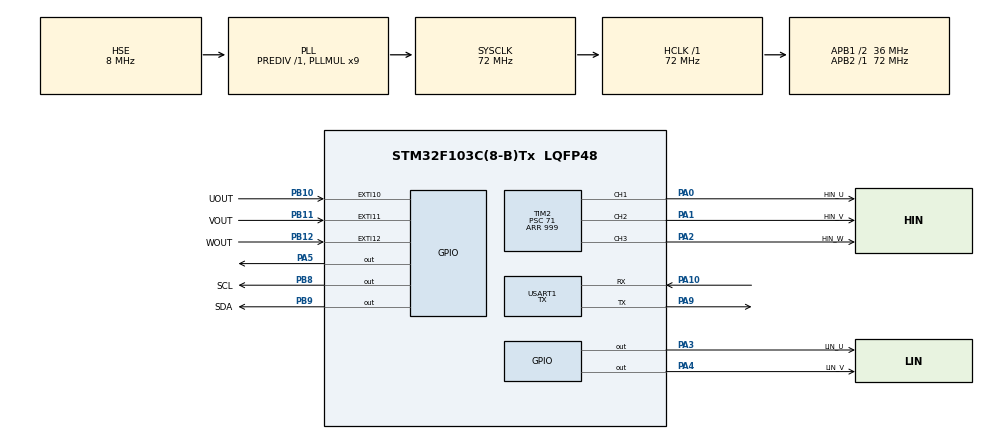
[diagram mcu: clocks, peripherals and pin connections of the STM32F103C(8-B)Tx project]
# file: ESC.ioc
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Mcu.Family=STM32F1
Mcu.Name=STM32F103C(8-B)Tx
Mcu.Package=LQFP48
NVIC.EXTI15_10_IRQn=true\:1\:0\:true\:false\:true\:true\:true\:true
NVIC.PriorityGroup=NVIC_PRIORITYGROUP_4
PA0-WKUP.GPIO_Label=HIN_U
PA0-WKUP.GPIO_Speed=GPIO_SPEED_FREQ_HIGH
PA0-WKUP.Signal=S_TIM2_CH1_ETR
PA1.GPIO_Label=HIN_V
PA1.GPIO_Speed=GPIO_SPEED_FREQ_HIGH
PA1.Signal=S_TIM2_CH2
PA10.Mode=Asynchronous
PA10.Signal=USART1_RX
PA13.Mode=Serial_Wire
PA13.Signal=SYS_JTMS-SWDIO
PA14.Mode=Serial_Wire
PA14.Signal=SYS_JTCK-SWCLK
PA2.GPIO_Label=HIN_W
PA2.GPIO_Speed=GPIO_SPEED_FREQ_HIGH
PA2.Signal=S_TIM2_CH3
PA3.GPIO_Label=LIN_U
PA3.GPIO_Speed=GPIO_SPEED_FREQ_HIGH
PA3.Signal=GPIO_Output
PA4.GPIO_Label=LIN_V
PA4.GPIO_Speed=GPIO_SPEED_FREQ_HIGH
PA4.Signal=GPIO_Output
PA5.Signal=GPIO_Output
PA9.Mode=Asynchronous
PA9.Signal=USART1_TX
PB10.GPIO_Label=UOUT
PB10.GPIO_ModeDefaultEXTI=GPIO_MODE_IT_RISING_FALLING
PB10.Signal=GPXTI10
PB11.GPIO_Label=VOUT
PB11.GPIO_ModeDefaultEXTI=GPIO_MODE_IT_RISING_FALLING
PB11.Signal=GPXTI11
PB12.GPIO_Label=WOUT
PB12.GPIO_ModeDefaultEXTI=GPIO_MODE_IT_RISING_FALLING
PB12.Signal=GPXTI12
PB8.GPIO_Label=SCL
PB8.GPIO_ModeDefaultOutputPP=GPIO_MODE_OUTPUT_OD
PB8.GPIO_PuPd=GPIO_NOPULL
PB8.GPIO_Speed=GPIO_SPEED_FREQ_HIGH
PB8.PinState=GPIO_PIN_SET
PB8.Signal=GPIO_Output
PB9.GPIO_Label=SDA
PB9.GPIO_ModeDefaultOutputPP=GPIO_MODE_OUTPUT_OD
PB9.GPIO_PuPd=GPIO_NOPULL
PB9.GPIO_Speed=GPIO_SPEED_FREQ_HIGH
PB9.PinState=GPIO_PIN_SET
PB9.Signal=GPIO_Output
PD0-OSC_IN.Mode=HSE-External-Oscillator
PD0-OSC_IN.Signal=RCC_OSC_IN
PD1-OSC_OUT.Mode=HSE-External-Oscillator
PD1-OSC_OUT.Signal=RCC_OSC_OUT
ProjectManager.HeapSize=0x200
ProjectManager.StackSize=0x400
ProjectManager.TargetToolchain=MDK-ARM V5
RCC.AHBFreq_Value=72000000
RCC.APB1CLKDivider=RCC_HCLK_DIV2
RCC.APB1Freq_Value=36000000
RCC.APB1TimFreq_Value=72000000
RCC.APB2Freq_Value=72000000
RCC.APB2TimFreq_Value=72000000
RCC.HCLKFreq_Value=72000000
RCC.PLLMUL=RCC_PLL_MUL9
RCC.PLLSourceVirtual=RCC_PLLSOURCE_HSE
RCC.SYSCLKFreq_VALUE=72000000
RCC.SYSCLKSource=RCC_SYSCLKSOURCE_PLLCLK
RCC.USBFreq_Value=72000000
SH.S_TIM2_CH1_ETR.0=TIM2_CH1,PWM Generation1 CH1
SH.S_TIM2_CH2.0=TIM2_CH2,PWM Generation2 CH2
SH.S_TIM2_CH3.0=TIM2_CH3,PWM Generation3 CH3
TIM2.Channel-PWM\ Generation1\ CH1=TIM_CHANNEL_1
TIM2.Channel-PWM\ Generation2\ CH2=TIM_CHANNEL_2
TIM2.Channel-PWM\ Generation3\ CH3=TIM_CHANNEL_3
TIM2.Period=999
TIM2.Prescaler=71
TIM3.Period=65535
TIM3.Prescaler=719
USART1.Mode=MODE_TX
USART1.VirtualMode=VM_ASYNC
VP_TIM3_VS_ClockSourceINT.Mode=Internal
board=custom

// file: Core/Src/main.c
/* USER CODE BEGIN Header */
/**
  ******************************************************************************
  * @file           : main.c
  * @brief          : Main program body
  ******************************************************************************
  * @attention
  *
  * Copyright (c) 2025 STMicroelectronics.
  * All rights reserved.
  *
  * This software is licensed under terms that can be found in the LICENSE file
  * in the root directory of this software component.
  * If no LICENSE file comes with this software, it is provided AS-IS.
  *
  ******************************************************************************
  */
/* USER CODE END Header */
#include "main.h"
#include "tim.h"
#include "usart.h"
#include "gpio.h"

/* USER CODE BEGIN Includes */
#include "OLED.h"
#include "ESC.h"
#include <stdio.h>
/* USER CODE END Includes */

void SystemClock_Config(void);

/* USER CODE BEGIN 0 */
int fputc(int ch, FILE *f)
{
  HAL_UART_Transmit(&huart1, (uint8_t *)&ch, 1, 0xffff);
  return ch;
}
/* USER CODE END 0 */

int main(void)
{

  /* USER CODE BEGIN 1 */
  extern uint8_t OpenloopStart_Over_Flag;
	extern int tim3_counts;
  extern PhaseZeroStatus zerostatus;
  extern UnenergizedPhase phase;
  extern TimeAndSpeedData t_v_Data;
	extern UART_HandleTypeDef huart1;
  extern InterruptStateFlag IT_Flag;
  extern int test[2];
  /* USER CODE END 1 */

  /* MCU Configuration--------------------------------------------------------*/

  /* Reset of all peripherals, Initializes the Flash interface and the Systick. */
  HAL_Init();

  /* Configure the system clock */
  SystemClock_Config();

  /* Initialize all configured peripherals */
  MX_GPIO_Init();
  MX_TIM2_Init();
  MX_TIM3_Init();
  MX_USART1_UART_Init();
  /* USER CODE BEGIN 2 */
	HAL_Delay(1000);//上电延迟
  OLED_Init();
  ESC_Init();
  Openloop_Start();
  /* USER CODE END 2 */

  /* Infinite loop */
  while (1)
  {

    /* USER CODE BEGIN 3 */

    // if(num == 100)
    // {
    //   printf("%d,%d\n",test[0],test[1]);
    //   num = 0;
    // }
    // else
    // {
    //   num ++;
    // }
    //printf("%d",(int)zerostatus);
		StatusDetectAndProcess();
		BlockedDetection();
    //printf("%d\n",test[1]);
		//printf("%d,%d,%d\n",(int)t_v_Data.speed*100,t_v_Data.time,(int)zerostatus);

    //printf("%d,%d,%d,%d,%d,%d\n",IT_Flag.U_H_Flag,IT_Flag.U_L_Flag,IT_Flag.V_H_Flag,IT_Flag.V_L_Flag,IT_Flag.W_H_Flag,IT_Flag.W_L_Flag);
		//OLED_ShowNum(2,1,t_v_Data.speed*100,5);
		//OLED_ShowNum(3,1,t_v_Data.time,8);
    //OLED_ShowNum(4,1,(int)zerostatus,2);
    //OLED_ShowNum(4,8,(int)phase,2);
    //BlockedDetection();
  }
  /* USER CODE END 3 */
}

void SystemClock_Config(void)
{
  RCC_OscInitTypeDef RCC_OscInitStruct = {0};
  RCC_ClkInitTypeDef RCC_ClkInitStruct = {0};

  /** Initializes the RCC Oscillators according to the specified parameters
  * in the RCC_OscInitTypeDef structure.
  */
  RCC_OscInitStruct.OscillatorType = RCC_OSCILLATORTYPE_HSE;
  RCC_OscInitStruct.HSEState = RCC_HSE_ON;
  RCC_OscInitStruct.HSEPredivValue = RCC_HSE_PREDIV_DIV1;
  RCC_OscInitStruct.HSIState = RCC_HSI_ON;
  RCC_OscInitStruct.PLL.PLLState = RCC_PLL_ON;
  RCC_OscInitStruct.PLL.PLLSource = RCC_PLLSOURCE_HSE;
  RCC_OscInitStruct.PLL.PLLMUL = RCC_PLL_MUL9;
  if (HAL_RCC_OscConfig(&RCC_OscInitStruct) != HAL_OK)
  {
    Error_Handler();
  }

  /** Initializes the CPU, AHB and APB buses clocks
  */
  RCC_ClkInitStruct.ClockType = RCC_CLOCKTYPE_HCLK|RCC_CLOCKTYPE_SYSCLK
                              |RCC_CLOCKTYPE_PCLK1|RCC_CLOCKTYPE_PCLK2;
  RCC_ClkInitStruct.SYSCLKSource = RCC_SYSCLKSOURCE_PLLCLK;
  RCC_ClkInitStruct.AHBCLKDivider = RCC_SYSCLK_DIV1;
  RCC_ClkInitStruct.APB1CLKDivider = RCC_HCLK_DIV2;
  RCC_ClkInitStruct.APB2CLKDivider = RCC_HCLK_DIV1;

  if (HAL_RCC_ClockConfig(&RCC_ClkInitStruct, FLASH_LATENCY_2) != HAL_OK)
  {
    Error_Handler();
  }
}

void Error_Handler(void)
{
  __disable_irq();
  while (1)
  {
  }
}
